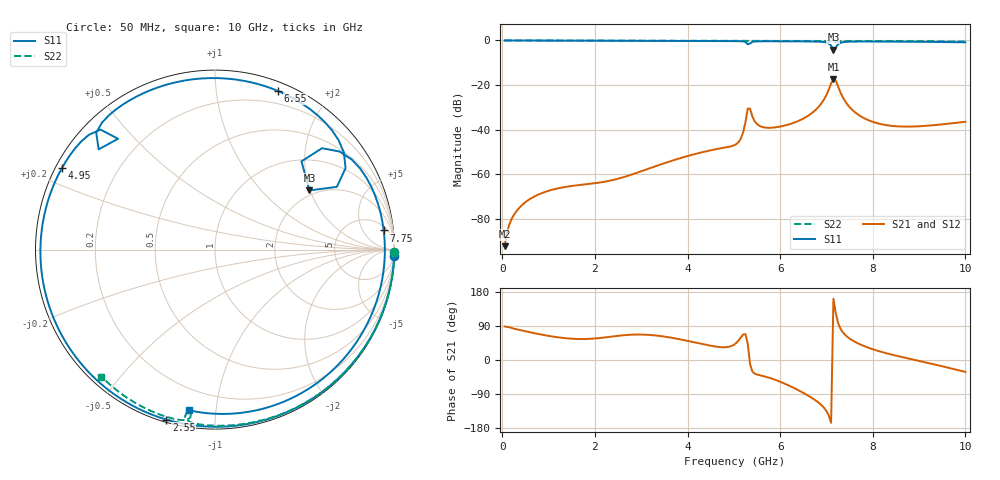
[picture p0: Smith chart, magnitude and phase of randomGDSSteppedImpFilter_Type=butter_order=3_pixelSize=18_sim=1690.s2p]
! freq	dB(S11)	phase(S11)	dB(S12)	phase(S12)
!  dB(S21)	phase(S21)	dB(S22)	phase(S22)
!S-par simulation data
#  GHz  S  DB  R 50
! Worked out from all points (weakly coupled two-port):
!   200 points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, 50 MHz to 10 GHz, reference 50 ohm
!   highest |S21| = -17.24 dB at 7.15 GHz (marker M1); lowest = -92.3 dB at 50 MHz (marker M2)
!   lowest |S11| = -4.1 dB at 7.15 GHz (marker M3), VSWR 4.28, Z = 92.2 + j99 ohm
!   |S11| at or under -10 dB: nowhere
!   |S22| runs from -0.7 to 0.0 dB; largest |S21 - S12| = 0
!   S11 on the Smith chart (normalised r, x): 50 MHz: 2, -53; 2.55 GHz: 0.01, -0.75; 4.95 GHz: 0.02, +0.25; 6.55 GHz: 0.08, +1.47; 7.75 GHz: 7, +14; 10 GHz: 0.08, -0.85
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0.05  -0.01 -2.2  -92.35 88.6  -92.35 88.6  -0.00 -0.8
0.2  -0.01 -8.6  -80.19 84.5  -80.19 84.5  -0.00 -3.1
0.8  -0.04 -34.2  -68.98 68.1  -68.98 68.1  -0.01 -12.2
1.75  -0.09 -73.7  -64.69 55.3  -64.69 55.3  -0.03 -26.3
2.55  -0.13 -105.9  -61.79 64.5  -61.79 64.5  -0.05 -38.0
3.4  -0.18 -140.1  -55.80 63.4  -55.80 63.4  -0.07 -50.2
4.2  -0.23 -173.6  -50.78 45.3  -50.78 45.3  -0.09 -61.2
4.95  -0.30 152.0  -47.45 37.0  -47.45 37.0  -0.11 -71.3
5.05  -0.32 146.8  -46.59 44.8  -46.59 44.8  -0.11 -72.6
5.2  -0.44 137.8  -41.28 67.2  -41.28 67.2  -0.12 -74.7
5.3  -1.72 131.2  -30.58 43.5  -30.58 43.5  -0.16 -76.0
5.4  -0.64 135.5  -34.13 -30.4  -34.13 -30.4  -0.13 -77.1
5.65  -0.37 119.6  -39.03 -42.8  -39.03 -42.8  -0.13 -80.4
6.55  -0.44 68.4  -34.50 -90.2  -34.50 -90.2  -0.18 -92.0
6.7  -0.47 59.1  -32.38 -101.2  -32.38 -101.2  -0.19 -93.9
7.05  -1.34 31.9  -22.05 -146.7  -22.05 -146.7  -0.34 -99.4
7.15  -4.14 32.1  -17.24 161.7  -17.24 161.7  -0.73 -99.8
7.3  -1.07 38.2  -23.24 83.3  -23.24 83.3  -0.37 -99.2
7.75  -0.48 6.5  -34.18 40.0  -34.18 40.0  -0.26 -105.5
8.35  -0.50 -25.8  -38.19 16.0  -38.19 16.0  -0.30 -112.8
9.15  -0.62 -63.4  -38.32 -6.5  -38.32 -6.5  -0.37 -122.1
10  -0.85 -99.1  -36.50 -31.6  -36.50 -31.6  -0.46 -131.8
